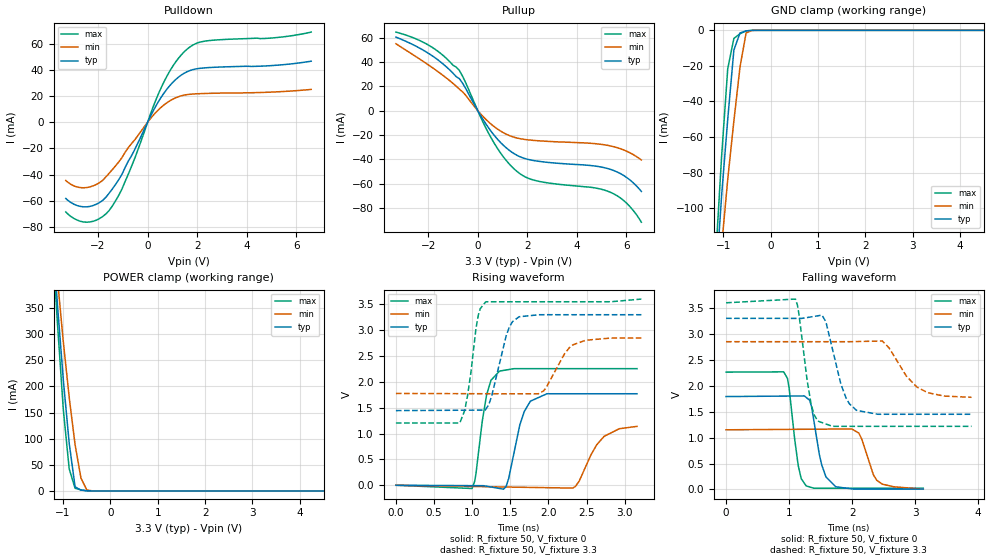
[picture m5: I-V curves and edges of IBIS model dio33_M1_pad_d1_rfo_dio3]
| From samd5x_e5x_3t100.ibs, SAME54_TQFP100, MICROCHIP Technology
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|   MODEL : dio33_M1_pad_d1_rfo_dio3
[Model] dio33_M1_pad_d1_rfo_dio3
Model_type I/O
Vinl  =  1.08
Vinh  =  2.52
Vmeas =  1.800
| Capacitance   typ   min   max
C_comp   1.940247098861728e-12   1.881466503605907e-12   1.951768607852667e-12
[Model Spec]
| Subparameter   typ   min   max
Vinl   0.99   0.855   1.08
Vinh   2.31   1.995   2.52
Vmeas   1.65   1.425   1.8
| Variables   typ   min   max
[GND Clamp Reference]   0   0   0
[POWER Clamp Reference]   3.3   2.85   3.6
[Pulldown Reference]   0   0   0
[Pullup Reference]   3.3   2.85   3.6
[Temperature Range]   25   125   -40
[Voltage Range]   3.3   2.85   3.6
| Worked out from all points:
|   slope of the pulldown table from 0 to 0.495 V, typ, clamps not added: 28.2 ohm
|   slope of the pullup table from 0 to 0.495 V, typ, clamps not added: 31.4 ohm
|   GND clamp passes 1 mA (typ) near -0.59 V on its own axis
|   POWER clamp passes 1 mA (typ) near -0.57 V on its own axis
|   falling waveform, R_fixture 50, V_fixture 0: 20-80 % time 171ps typ, 195ps min, 131ps max; typ from 1.79 V to 0.007 V
|   falling waveform, R_fixture 50, V_fixture 3.3: 20-80 % time 242ps typ, 379ps min, 159ps max; typ from 3.3 V to 1.45 V
|   rising waveform, R_fixture 50, V_fixture 0: 20-80 % time 171ps typ, 261ps min, 133ps max; typ from 0 V to 1.77 V
|   rising waveform, R_fixture 50, V_fixture 3.3: 20-80 % time 184ps typ, 253ps min, 127ps max; typ from 1.44 V to 3.3 V
[GND Clamp]
| Voltage   I(typ)   I(min)   I(max)
-3.3V     -1.337A    -1.205A    -1.47A
-1.164V   -144.5mA   -166.4mA   -129.6mA
-1.034V   -92.85mA   -121.4mA   -70.79mA
-905.2mV  -49.91mA   -83.74mA   -21.58mA
-775.9mV  -11.12mA   -51.08mA   -4.559mA
-646.6mV  -1.49mA    -20.67mA   -1.911mA
-517.2mV  -301uA     -1.43mA    -343.7uA
-387.9mV  -11.41uA   -57.72uA   -5.999uA
6.6V      0A         0A         0A
[POWER Clamp]
| Voltage   I(typ)   I(min)   I(max)
-3.3V     3.435A     2.984A     3.922A
-1.241V   514.7mA    536.5mA    506.8mA
-1.117V   356.9mA    406.1mA    321.2mA
-993.1mV  212.2mA    285.2mA    155.3mA
-869mV    91.32mA    179.3mA    42.21mA
-744.8mV  7.743mA    88.52mA    5.131mA
-620.7mV  1.545mA    24.45mA    1.912mA
-496.6mV  256.5uA    1.683mA    402.3uA
-372.4mV  9.073uA    81.91uA    20.49uA
6.6V      0A         0A         0A
[Pulldown]
| Voltage   I(typ)   I(min)   I(max)
-3.3V     -58.22mA   -44.46mA   -68.5mA
-2.457V   -64.61mA   -49.88mA   -76.36mA
-1.94V    -61.35mA   -46.15mA   -73.59mA
-1.552V   -54.19mA   -38.97mA   -67.45mA
-1.164V   -43.85mA   -30.3mA    -55.8mA
-775.9mV  -29.6mA    -19.31mA   -39.57mA
227.6mV   8.78mA     5.36mA     11.99mA
682.8mV   22.9mA     13.59mA    31.75mA
1.138V    32.75mA    18.75mA    46.25mA
1.707V    39.54mA    21.39mA    57.56mA
2.39V     41.69mA    22.05mA    62.21mA
6.6V      46.69mA    25.13mA    68.92mA
[Pullup]
| Voltage   I(typ)   I(min)   I(max)
-3.3V     60.31mA    54.87mA    64.44mA
-1.986V   46.99mA    37.45mA    53.76mA
-744.8mV  26.28mA    17.7mA     33.11mA
113.8mV   -3.998mA   -2.655mA   -5.167mA
569mV     -17.82mA   -11.63mA   -23.43mA
1.024V    -28.27mA   -18.02mA   -37.69mA
1.593V    -36.79mA   -22.55mA   -50.11mA
2.39V     -41.42mA   -24.67mA   -57.71mA
4.722V    -45.48mA   -27.11mA   -63.44mA
5.369V    -48.33mA   -29.06mA   -67.19mA
6.016V    -55mA      -33.4mA    -76.17mA
6.6V      -66.35mA   -40.53mA   -91.59mA
[Ramp]
dV/dt_r   1.0751/0.175414n  0.69061/0.266054n  1.35811/0.133872n
dV/dt_f   1.11378/0.243774n  0.64508/0.380771n  1.43785/0.160759n
R_load = 50
[Falling Waveform]
R_fixture = 50
V_fixture = 0
V_fixture_min = 0
V_fixture_max = 0
| Time   V(typ)   V(min)   V(max)
0s        1.792V     1.151V     2.264V
914.5ps   1.801V     1.159V     2.268V
1ns       1.802V     1.159V     1.963V
1.145ns   1.803V     1.16V      463.1mV
1.272ns   1.775V     1.161V     68.27mV
1.516ns   483.7mV    1.163V     24.38mV
1.74ns    53.1mV     1.165V     24.37mV
2.108ns   7.33mV     1.085V     24.34mV
2.479ns   7.323mV    103.4mV    24.32mV
3.129ns   7.309mV    6.27mV     24.27mV
[Falling Waveform]
R_fixture = 50
V_fixture = 3.3
V_fixture_min = 2.85
V_fixture_max = 3.6
| Time   V(typ)   V(min)   V(max)
0s        3.3V       2.85V      3.6V
1.101ns   3.299V     2.85V      3.672V
1.347ns   3.328V     2.85V      1.659V
1.456ns   3.349V     2.85V      1.32V
1.585ns   3.233V     2.85V      1.263V
1.822ns   2.033V     2.85V      1.218V
2.07ns    1.526V     2.853V     1.218V
2.48ns    1.451V     2.863V     1.218V
3.197ns   1.45V      1.867V     1.218V
3.894ns   1.45V      1.778V     1.218V
[Rising Waveform]
R_fixture = 50
V_fixture = 0
V_fixture_min = 0
V_fixture_max = 0
| Time   V(typ)   V(min)   V(max)
0s        8.466nV    22.36nV    17.22nV
998.5ps   -7.341mV   -23.44mV   -62.38mV
1.188ns   -18.28mV   -27.89mV   1.743V
1.358ns   -61.86mV   -31.88mV   2.207V
1.446ns   -20.92mV   -33.93mV   2.229V
1.624ns   1.165V     -38.12mV   2.254V
1.763ns   1.626V     -41.39mV   2.254V
2.319ns   1.769V     -54.44mV   2.254V
2.73ns    1.769V     946.4mV    2.254V
3.162ns   1.769V     1.138V     2.254V
[Rising Waveform]
R_fixture = 50
V_fixture = 3.3
V_fixture_min = 2.85
V_fixture_max = 3.6
| Time   V(typ)   V(min)   V(max)
0s        1.444V     1.775V     1.204V
837.7ps   1.451V     1.771V     1.204V
938.8ps   1.452V     1.771V     1.729V
1.081ns   1.453V     1.77V      3.297V
1.178ns   1.469V     1.77V      3.548V
1.445ns   2.889V     1.769V     3.548V
1.615ns   3.258V     1.768V     3.548V
1.936ns   3.298V     1.823V     3.548V
2.319ns   3.298V     2.714V     3.548V
3.218ns   3.298V     2.846V     3.6V
